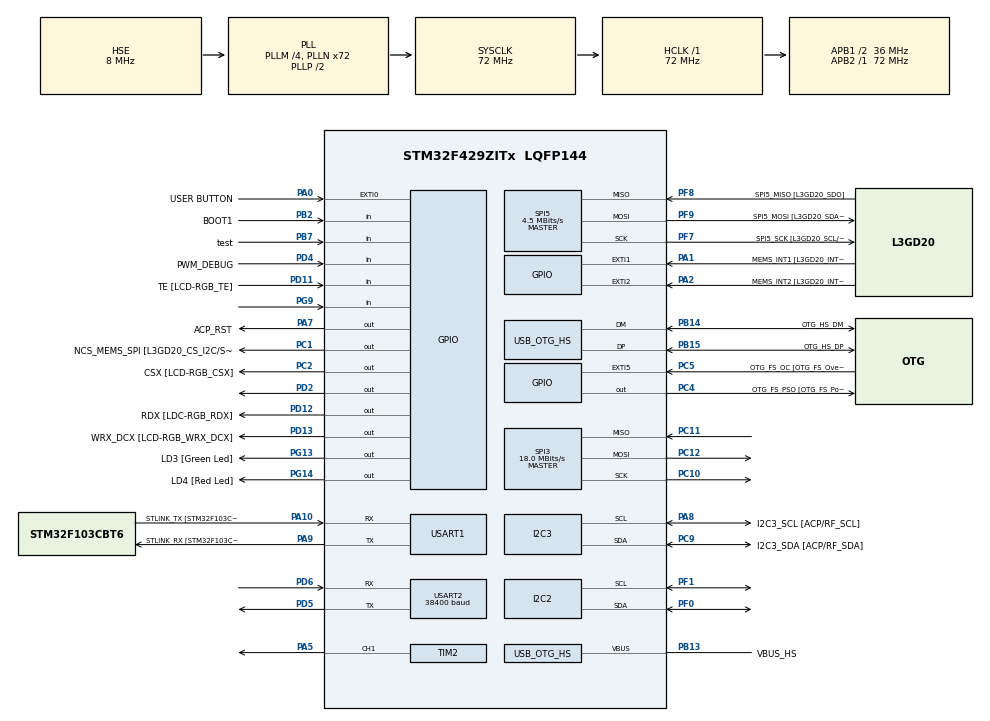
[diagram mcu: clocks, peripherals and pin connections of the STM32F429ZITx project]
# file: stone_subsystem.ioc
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Dma.Request0=TIM2_CH1
Dma.TIM2_CH1.0.Direction=DMA_MEMORY_TO_PERIPH
Dma.TIM2_CH1.0.FIFOMode=DMA_FIFOMODE_DISABLE
Dma.TIM2_CH1.0.Instance=DMA1_Stream5
Dma.TIM2_CH1.0.MemDataAlignment=DMA_MDATAALIGN_BYTE
Dma.TIM2_CH1.0.MemInc=DMA_MINC_ENABLE
Dma.TIM2_CH1.0.Mode=DMA_NORMAL
Dma.TIM2_CH1.0.PeriphDataAlignment=DMA_PDATAALIGN_BYTE
Dma.TIM2_CH1.0.PeriphInc=DMA_PINC_DISABLE
Dma.TIM2_CH1.0.Priority=DMA_PRIORITY_HIGH
Mcu.Family=STM32F4
Mcu.Name=STM32F429ZITx
Mcu.Package=LQFP144
NVIC.DMA1_Stream5_IRQn=true\:0\:0\:false\:false\:true\:false\:true\:true
NVIC.EXTI0_IRQn=true\:0\:0\:false\:false\:true\:true\:true\:true
NVIC.OTG_HS_IRQn=true\:0\:0\:false\:false\:true\:false\:true\:true
NVIC.PriorityGroup=NVIC_PRIORITYGROUP_4
NVIC.RCC_IRQn=true\:0\:0\:false\:false\:true\:true\:false\:true
NVIC.TIM2_IRQn=true\:0\:0\:false\:false\:true\:true\:true\:true
NVIC.USART1_IRQn=true\:0\:0\:false\:false\:true\:true\:true\:true
PA0/WKUP.GPIO_Label=USER BUTTON
PA0/WKUP.Signal=GPXTI0
PA1.GPIO_Label=MEMS_INT1 [L3GD20_INT1]
PA1.GPIO_ModeDefaultEXTI=GPIO_MODE_EVT_RISING
PA1.GPIO_PuPd=GPIO_NOPULL
PA1.Signal=GPXTI1
PA10.GPIO_Label=STLINK_TX [STM32F103CBT6_PA2]
PA10.Mode=Asynchronous
PA10.Signal=USART1_RX
PA11.GPIO_Label=R4
PA11.GPIO_Mode=GPIO_MODE_AF_PP
PA11.GPIO_PuPd=GPIO_NOPULL
PA11.GPIO_Speed=GPIO_SPEED_FREQ_LOW
PA11.Signal=LTDC_R4
PA12.GPIO_Label=R5
PA12.GPIO_Mode=GPIO_MODE_AF_PP
PA12.GPIO_PuPd=GPIO_NOPULL
PA12.GPIO_Speed=GPIO_SPEED_FREQ_LOW
PA12.Signal=LTDC_R5
PA13.GPIO_Label=SWDIO
PA13.Mode=Serial_Wire
PA13.Signal=SYS_JTMS-SWDIO
PA14.GPIO_Label=SWCLK
PA14.Mode=Serial_Wire
PA14.Signal=SYS_JTCK-SWCLK
PA15.Signal=SPI3_NSS
PA2.GPIO_Label=MEMS_INT2 [L3GD20_INT2]
PA2.GPIO_ModeDefaultEXTI=GPIO_MODE_EVT_RISING
PA2.GPIO_PuPd=GPIO_NOPULL
PA2.Signal=GPXTI2
PA3.GPIO_Label=B5
PA3.GPIO_Mode=GPIO_MODE_AF_PP
PA3.GPIO_PuPd=GPIO_NOPULL
PA3.GPIO_Speed=GPIO_SPEED_FREQ_LOW
PA3.Signal=LTDC_B5
PA4.GPIO_Label=VSYNC
PA4.GPIO_Mode=GPIO_MODE_AF_PP
PA4.GPIO_PuPd=GPIO_NOPULL
PA4.GPIO_Speed=GPIO_SPEED_FREQ_LOW
PA4.Signal=LTDC_VSYNC
PA5.Signal=S_TIM2_CH1_ETR
PA6.GPIO_Label=G2
PA6.GPIO_Mode=GPIO_MODE_AF_PP
PA6.GPIO_PuPd=GPIO_NOPULL
PA6.GPIO_Speed=GPIO_SPEED_FREQ_LOW
PA6.Signal=LTDC_G2
PA7.GPIO_Label=ACP_RST
PA7.GPIO_Mode=GPIO_MODE_OUTPUT_PP
PA7.GPIO_PuPd=GPIO_NOPULL
PA7.GPIO_Speed=GPIO_SPEED_FREQ_LOW
PA7.Signal=GPIO_Output
PA8.GPIO_Label=I2C3_SCL [ACP/RF_SCL]
PA8.GPIO_Mode=GPIO_MODE_AF_OD
PA8.GPIO_Pu=GPIO_PULLUP
PA8.GPIO_PuPd=GPIO_NOPULL
PA8.GPIO_Speed=GPIO_SPEED_FREQ_LOW
PA8.Mode=I2C
PA8.Signal=I2C3_SCL
PA9.GPIO_Label=STLINK_RX [STM32F103CBT6_PA3]
PA9.Mode=Asynchronous
PA9.Signal=USART1_TX
PB0.GPIO_Label=R3
PB0.GPIO_Mode=GPIO_MODE_AF_PP
PB0.GPIO_PuPd=GPIO_NOPULL
PB0.GPIO_Speed=GPIO_SPEED_FREQ_LOW
PB0.Signal=LTDC_R3
PB1.GPIO_Label=R6
PB1.GPIO_Mode=GPIO_MODE_AF_PP
PB1.GPIO_PuPd=GPIO_NOPULL
PB1.GPIO_Speed=GPIO_SPEED_FREQ_LOW
PB1.Signal=LTDC_R6
PB10.GPIO_Label=G4
PB10.GPIO_Mode=GPIO_MODE_AF_PP
PB10.GPIO_PuPd=GPIO_NOPULL
PB10.GPIO_Speed=GPIO_SPEED_FREQ_LOW
PB10.Signal=LTDC_G4
PB11.GPIO_Label=G5
PB11.GPIO_Mode=GPIO_MODE_AF_PP
PB11.GPIO_PuPd=GPIO_NOPULL
PB11.GPIO_Speed=GPIO_SPEED_FREQ_LOW
PB11.Signal=LTDC_G5
PB12.GPIO_Label=OTG_HS_ID
PB12.GPIO_Mode=GPIO_MODE_AF_PP
PB12.GPIO_PuPd=GPIO_NOPULL
PB12.GPIO_Speed=GPIO_SPEED_FREQ_LOW
PB12.Signal=USB_OTG_HS_ID
PB13.GPIO_Label=VBUS_HS
PB13.GPIO_Mode=GPIO_MODE_INPUT
PB13.GPIO_PuPd=GPIO_NOPULL
PB13.Mode=Activate_VBUS_FS
PB13.Signal=USB_OTG_HS_VBUS
PB14.GPIO_Label=OTG_HS_DM
PB14.GPIO_Mode=GPIO_MODE_AF_PP
PB14.GPIO_PuPd=GPIO_NOPULL
PB14.GPIO_Speed=GPIO_SPEED_FREQ_LOW
PB14.Mode=Host_FS
PB14.Signal=USB_OTG_HS_DM
PB15.GPIO_Label=OTG_HS_DP
PB15.GPIO_Mode=GPIO_MODE_AF_PP
PB15.GPIO_PuPd=GPIO_NOPULL
PB15.GPIO_Speed=GPIO_SPEED_FREQ_LOW
PB15.Mode=Host_FS
PB15.Signal=USB_OTG_HS_DP
PB2/BOOT1.GPIO_Label=BOOT1
PB2/BOOT1.GPIO_Mode=GPIO_MODE_INPUT
PB2/BOOT1.GPIO_PuPd=GPIO_NOPULL
PB2/BOOT1.Signal=GPIO_Input
PB5.GPIO_Label=SDCKE1
PB5.GPIO_Mode=GPIO_MODE_AF_PP
PB5.GPIO_PuPd=GPIO_NOPULL
PB5.GPIO_Speed=GPIO_SPEED_FREQ_VERY_HIGH
PB5.Signal=FMC_SDCKE1
PB6.GPIO_Label=SDNE1 [SDRAM_CS]
PB6.GPIO_Mode=GPIO_MODE_AF_PP
PB6.GPIO_PuPd=GPIO_NOPULL
PB6.GPIO_Speed=GPIO_SPEED_FREQ_VERY_HIGH
PB6.Signal=FMC_SDNE1
PB7.GPIO_Label=test
PB7.Signal=GPIO_Input
PB8.GPIO_Label=B6
PB8.GPIO_Mode=GPIO_MODE_AF_PP
PB8.GPIO_PuPd=GPIO_NOPULL
PB8.GPIO_Speed=GPIO_SPEED_FREQ_LOW
PB8.Signal=LTDC_B6
PB9.GPIO_Label=B7
PB9.GPIO_Mode=GPIO_MODE_AF_PP
PB9.GPIO_PuPd=GPIO_NOPULL
PB9.GPIO_Speed=GPIO_SPEED_FREQ_LOW
PB9.Signal=LTDC_B7
PC0.GPIO_Label=SDNWE
PC0.GPIO_Mode=GPIO_MODE_AF_PP
PC0.GPIO_PuPd=GPIO_NOPULL
PC0.GPIO_Speed=GPIO_SPEED_FREQ_VERY_HIGH
PC0.Signal=FMC_SDNWE
PC1.GPIO_Label=NCS_MEMS_SPI [L3GD20_CS_I2C/SPI]
PC1.GPIO_Mode=GPIO_MODE_OUTPUT_PP
PC1.GPIO_PuPd=GPIO_NOPULL
PC1.GPIO_Speed=GPIO_SPEED_FREQ_LOW
PC1.Signal=GPIO_Output
PC10.GPIO_Mode=GPIO_MODE_AF_PP
PC10.GPIO_PuPd=GPIO_NOPULL
PC10.GPIO_Speed=GPIO_SPEED_FREQ_LOW
PC10.Mode=Full_Duplex_Master
PC10.Signal=SPI3_SCK
PC11.GPIO_Speed=GPIO_SPEED_FREQ_LOW
PC11.Mode=Full_Duplex_Master
PC11.Signal=SPI3_MISO
PC12.GPIO_Speed=GPIO_SPEED_FREQ_LOW
PC12.Mode=Full_Duplex_Master
PC12.Signal=SPI3_MOSI
PC14/OSC32_IN.GPIO_Label=PC14-OSC32_IN
PC14/OSC32_IN.Mode=LSE-External-Oscillator
PC14/OSC32_IN.Signal=RCC_OSC32_IN
PC15/OSC32_OUT.GPIO_Label=PC15-OSC32_OUT
PC15/OSC32_OUT.Mode=LSE-External-Oscillator
PC15/OSC32_OUT.Signal=RCC_OSC32_OUT
PC2.GPIO_Label=CSX [LCD-RGB_CSX]
PC2.GPIO_Mode=GPIO_MODE_OUTPUT_PP
PC2.GPIO_PuPd=GPIO_NOPULL
PC2.GPIO_Speed=GPIO_SPEED_FREQ_LOW
PC2.Signal=GPIO_Output
PC4.GPIO_Label=OTG_FS_PSO [OTG_FS_PowerSwitchOn]
PC4.GPIO_Mode=GPIO_MODE_OUTPUT_PP
PC4.GPIO_PuPd=GPIO_NOPULL
PC4.GPIO_Speed=GPIO_SPEED_FREQ_LOW
PC4.Signal=GPIO_Output
PC5.GPIO_Label=OTG_FS_OC [OTG_FS_OverCurrent]
PC5.GPIO_ModeDefaultEXTI=GPIO_MODE_EVT_RISING
PC5.Signal=GPXTI5
PC6.GPIO_Label=HSYNC
PC6.GPIO_Mode=GPIO_MODE_AF_PP
PC6.GPIO_PuPd=GPIO_NOPULL
PC6.GPIO_Speed=GPIO_SPEED_FREQ_LOW
PC6.Signal=LTDC_HSYNC
PC7.GPIO_Label=G6
PC7.GPIO_Mode=GPIO_MODE_AF_PP
PC7.GPIO_PuPd=GPIO_NOPULL
PC7.GPIO_Speed=GPIO_SPEED_FREQ_LOW
PC7.Signal=LTDC_G6
PC9.GPIO_Label=I2C3_SDA [ACP/RF_SDA]
PC9.GPIO_Mode=GPIO_MODE_AF_OD
PC9.GPIO_Pu=GPIO_PULLUP
PC9.GPIO_PuPd=GPIO_NOPULL
PC9.GPIO_Speed=GPIO_SPEED_FREQ_LOW
PC9.Mode=I2C
PC9.Signal=I2C3_SDA
PD0.GPIO_Label=D2
PD0.GPIO_Mode=GPIO_MODE_AF_PP
PD0.GPIO_PuPd=GPIO_NOPULL
PD0.GPIO_Speed=GPIO_SPEED_FREQ_VERY_HIGH
PD0.Signal=FMC_D2_DA2
PD1.GPIO_Label=D3
PD1.GPIO_Mode=GPIO_MODE_AF_PP
PD1.GPIO_PuPd=GPIO_NOPULL
PD1.GPIO_Speed=GPIO_SPEED_FREQ_VERY_HIGH
PD1.Signal=FMC_D3_DA3
PD10.GPIO_Label=D15
PD10.GPIO_Mode=GPIO_MODE_AF_PP
PD10.GPIO_PuPd=GPIO_NOPULL
PD10.GPIO_Speed=GPIO_SPEED_FREQ_VERY_HIGH
PD10.Signal=FMC_D15_DA15
PD11.GPIO_Label=TE [LCD-RGB_TE]
PD11.GPIO_Mode=GPIO_MODE_INPUT
PD11.GPIO_PuPd=GPIO_NOPULL
PD11.Signal=GPIO_Input
PD12.GPIO_Label=RDX [LDC-RGB_RDX]
PD12.GPIO_Mode=GPIO_MODE_OUTPUT_PP
PD12.GPIO_PuPd=GPIO_NOPULL
PD12.GPIO_Speed=GPIO_SPEED_FREQ_LOW
PD12.Signal=GPIO_Output
PD13.GPIO_Label=WRX_DCX [LCD-RGB_WRX_DCX]
PD13.GPIO_Mode=GPIO_MODE_OUTPUT_PP
PD13.GPIO_PuPd=GPIO_NOPULL
PD13.GPIO_Speed=GPIO_SPEED_FREQ_LOW
PD13.Signal=GPIO_Output
PD14.GPIO_Label=D0
PD14.GPIO_Mode=GPIO_MODE_AF_PP
PD14.GPIO_PuPd=GPIO_NOPULL
PD14.GPIO_Speed=GPIO_SPEED_FREQ_VERY_HIGH
PD14.Signal=FMC_D0_DA0
PD15.GPIO_Label=D1
PD15.GPIO_Mode=GPIO_MODE_AF_PP
PD15.GPIO_PuPd=GPIO_NOPULL
PD15.GPIO_Speed=GPIO_SPEED_FREQ_VERY_HIGH
PD15.Signal=FMC_D1_DA1
PD2.GPIO_Speed=GPIO_SPEED_FREQ_LOW
PD2.Signal=GPIO_Output
PD3.GPIO_Label=G7
PD3.GPIO_Mode=GPIO_MODE_AF_PP
PD3.GPIO_PuPd=GPIO_NOPULL
PD3.GPIO_Speed=GPIO_SPEED_FREQ_LOW
PD3.Signal=LTDC_G7
PD4.GPIO_Label=PWM_DEBUG
PD4.Signal=GPIO_Input
PD5.Mode=Asynchronous
PD5.Signal=USART2_TX
PD6.Mode=Asynchronous
PD6.Signal=USART2_RX
PD8.GPIO_Label=D13
PD8.GPIO_Mode=GPIO_MODE_AF_PP
PD8.GPIO_PuPd=GPIO_NOPULL
PD8.GPIO_Speed=GPIO_SPEED_FREQ_VERY_HIGH
PD8.Signal=FMC_D13_DA13
PD9.GPIO_Label=D14
PD9.GPIO_Mode=GPIO_MODE_AF_PP
PD9.GPIO_PuPd=GPIO_NOPULL
PD9.GPIO_Speed=GPIO_SPEED_FREQ_VERY_HIGH
PD9.Signal=FMC_D14_DA14
PE0.GPIO_Label=NBL0 [SDRAM_LDQM]
PE0.GPIO_Mode=GPIO_MODE_AF_PP
PE0.GPIO_PuPd=GPIO_NOPULL
PE0.GPIO_Speed=GPIO_SPEED_FREQ_VERY_HIGH
PE0.Signal=FMC_NBL0
PE1.GPIO_Label=NBL1 [SDRAM_UDQM]
PE1.GPIO_Mode=GPIO_MODE_AF_PP
PE1.GPIO_PuPd=GPIO_NOPULL
PE1.GPIO_Speed=GPIO_SPEED_FREQ_VERY_HIGH
PE1.Signal=FMC_NBL1
PE10.GPIO_Label=D7
PE10.GPIO_Mode=GPIO_MODE_AF_PP
PE10.GPIO_PuPd=GPIO_NOPULL
PE10.GPIO_Speed=GPIO_SPEED_FREQ_VERY_HIGH
PE10.Signal=FMC_D7_DA7
PE11.GPIO_Label=D8
PE11.GPIO_Mode=GPIO_MODE_AF_PP
PE11.GPIO_PuPd=GPIO_NOPULL
PE11.GPIO_Speed=GPIO_SPEED_FREQ_VERY_HIGH
PE11.Signal=FMC_D8_DA8
PE12.GPIO_Label=D9
PE12.GPIO_Mode=GPIO_MODE_AF_PP
PE12.GPIO_PuPd=GPIO_NOPULL
PE12.GPIO_Speed=GPIO_SPEED_FREQ_VERY_HIGH
PE12.Signal=FMC_D9_DA9
PE13.GPIO_Label=D10
PE13.GPIO_Mode=GPIO_MODE_AF_PP
PE13.GPIO_PuPd=GPIO_NOPULL
PE13.GPIO_Speed=GPIO_SPEED_FREQ_VERY_HIGH
PE13.Signal=FMC_D10_DA10
PE14.GPIO_Label=D11
PE14.GPIO_Mode=GPIO_MODE_AF_PP
PE14.GPIO_PuPd=GPIO_NOPULL
PE14.GPIO_Speed=GPIO_SPEED_FREQ_VERY_HIGH
PE14.Signal=FMC_D11_DA11
PE15.GPIO_Label=D12
PE15.GPIO_Mode=GPIO_MODE_AF_PP
PE15.GPIO_PuPd=GPIO_NOPULL
PE15.GPIO_Speed=GPIO_SPEED_FREQ_VERY_HIGH
PE15.Signal=FMC_D12_DA12
PE7.GPIO_Label=D4
PE7.GPIO_Mode=GPIO_MODE_AF_PP
PE7.GPIO_PuPd=GPIO_NOPULL
PE7.GPIO_Speed=GPIO_SPEED_FREQ_VERY_HIGH
PE7.Signal=FMC_D4_DA4
PE8.GPIO_Label=D5
PE8.GPIO_Mode=GPIO_MODE_AF_PP
PE8.GPIO_PuPd=GPIO_NOPULL
PE8.GPIO_Speed=GPIO_SPEED_FREQ_VERY_HIGH
PE8.Signal=FMC_D5_DA5
PE9.GPIO_Label=D6
PE9.GPIO_Mode=GPIO_MODE_AF_PP
PE9.GPIO_PuPd=GPIO_NOPULL
PE9.GPIO_Speed=GPIO_SPEED_FREQ_VERY_HIGH
PE9.Signal=FMC_D6_DA6
PF0.GPIO_Pu=GPIO_NOPULL
PF0.Mode=I2C
PF0.Signal=I2C2_SDA
PF1.GPIO_Pu=GPIO_NOPULL
PF1.Mode=I2C
PF1.Signal=I2C2_SCL
PF10.GPIO_Label=ENABLE [LCD-RGB_ENABLE]
PF10.GPIO_Mode=GPIO_MODE_AF_PP
PF10.GPIO_PuPd=GPIO_NOPULL
PF10.GPIO_Speed=GPIO_SPEED_FREQ_LOW
PF10.Signal=LTDC_DE
PF11.GPIO_Label=SDNRAS
PF11.GPIO_Mode=GPIO_MODE_AF_PP
PF11.GPIO_PuPd=GPIO_NOPULL
PF11.GPIO_Speed=GPIO_SPEED_FREQ_VERY_HIGH
PF11.Signal=FMC_SDNRAS
PF12.GPIO_Label=A6
PF12.GPIO_Mode=GPIO_MODE_AF_PP
PF12.GPIO_PuPd=GPIO_NOPULL
PF12.GPIO_Speed=GPIO_SPEED_FREQ_VERY_HIGH
PF12.Signal=FMC_A6
PF13.GPIO_Label=A7
PF13.GPIO_Mode=GPIO_MODE_AF_PP
PF13.GPIO_PuPd=GPIO_NOPULL
PF13.GPIO_Speed=GPIO_SPEED_FREQ_VERY_HIGH
PF13.Signal=FMC_A7
PF14.GPIO_Label=A8
PF14.GPIO_Mode=GPIO_MODE_AF_PP
PF14.GPIO_PuPd=GPIO_NOPULL
PF14.GPIO_Speed=GPIO_SPEED_FREQ_VERY_HIGH
PF14.Signal=FMC_A8
PF15.GPIO_Label=A9
PF15.GPIO_Mode=GPIO_MODE_AF_PP
PF15.GPIO_PuPd=GPIO_NOPULL
PF15.GPIO_Speed=GPIO_SPEED_FREQ_VERY_HIGH
PF15.Signal=FMC_A9
PF3.GPIO_Label=A3
PF3.GPIO_Mode=GPIO_MODE_AF_PP
PF3.GPIO_PuPd=GPIO_NOPULL
PF3.GPIO_Speed=GPIO_SPEED_FREQ_VERY_HIGH
PF3.Signal=FMC_A3
PF4.GPIO_Label=A4
PF4.GPIO_Mode=GPIO_MODE_AF_PP
PF4.GPIO_PuPd=GPIO_NOPULL
PF4.GPIO_Speed=GPIO_SPEED_FREQ_VERY_HIGH
PF4.Signal=FMC_A4
PF5.GPIO_Label=A5
PF5.GPIO_Mode=GPIO_MODE_AF_PP
PF5.GPIO_PuPd=GPIO_NOPULL
PF5.GPIO_Speed=GPIO_SPEED_FREQ_VERY_HIGH
PF5.Signal=FMC_A5
PF7.GPIO_Label=SPI5_SCK [L3GD20_SCL/SPC]
PF7.GPIO_Mode=GPIO_MODE_AF_PP
PF7.GPIO_PuPd=GPIO_NOPULL
PF7.GPIO_Speed=GPIO_SPEED_FREQ_LOW
PF7.Mode=Full_Duplex_Master
PF7.Signal=SPI5_SCK
PF8.GPIO_Label=SPI5_MISO [L3GD20_SDO]
PF8.GPIO_Mode=GPIO_MODE_AF_PP
PF8.GPIO_PuPd=GPIO_NOPULL
PF8.GPIO_Speed=GPIO_SPEED_FREQ_LOW
PF8.Mode=Full_Duplex_Master
PF8.Signal=SPI5_MISO
PF9.GPIO_Label=SPI5_MOSI [L3GD20_SDA/SDI/SDO]
PF9.GPIO_Mode=GPIO_MODE_AF_PP
PF9.GPIO_PuPd=GPIO_NOPULL
PF9.GPIO_Speed=GPIO_SPEED_FREQ_LOW
PF9.Mode=Full_Duplex_Master
PF9.Signal=SPI5_MOSI
PG0.GPIO_Label=A10
PG0.GPIO_Mode=GPIO_MODE_AF_PP
PG0.GPIO_PuPd=GPIO_NOPULL
PG0.GPIO_Speed=GPIO_SPEED_FREQ_VERY_HIGH
PG0.Signal=FMC_A10
PG1.GPIO_Label=A11
PG1.GPIO_Mode=GPIO_MODE_AF_PP
PG1.GPIO_PuPd=GPIO_NOPULL
PG1.GPIO_Speed=GPIO_SPEED_FREQ_VERY_HIGH
PG1.Signal=FMC_A11
PG10.GPIO_Label=G3
PG10.GPIO_Mode=GPIO_MODE_AF_PP
PG10.GPIO_PuPd=GPIO_NOPULL
PG10.GPIO_Speed=GPIO_SPEED_FREQ_LOW
PG10.Signal=LTDC_G3
PG11.GPIO_Label=B3
PG11.GPIO_Mode=GPIO_MODE_AF_PP
PG11.GPIO_PuPd=GPIO_NOPULL
PG11.GPIO_Speed=GPIO_SPEED_FREQ_LOW
PG11.Signal=LTDC_B3
PG12.GPIO_Label=B4
PG12.GPIO_Mode=GPIO_MODE_AF_PP
PG12.GPIO_PuPd=GPIO_NOPULL
PG12.GPIO_Speed=GPIO_SPEED_FREQ_LOW
PG12.Signal=LTDC_B4
PG13.GPIO_Label=LD3 [Green Led]
PG13.GPIO_Mode=GPIO_MODE_OUTPUT_PP
PG13.GPIO_PuPd=GPIO_NOPULL
PG13.GPIO_Speed=GPIO_SPEED_FREQ_LOW
PG13.Signal=GPIO_Output
PG14.GPIO_Label=LD4 [Red Led]
PG14.GPIO_Mode=GPIO_MODE_OUTPUT_PP
PG14.GPIO_PuPd=GPIO_NOPULL
PG14.GPIO_Speed=GPIO_SPEED_FREQ_LOW
PG14.Signal=GPIO_Output
PG15.GPIO_Label=SDNCAS
PG15.GPIO_Mode=GPIO_MODE_AF_PP
PG15.GPIO_PuPd=GPIO_NOPULL
PG15.GPIO_Speed=GPIO_SPEED_FREQ_VERY_HIGH
PG15.Signal=FMC_SDNCAS
PG4.GPIO_Label=BA0
PG4.GPIO_Mode=GPIO_MODE_AF_PP
PG4.GPIO_PuPd=GPIO_NOPULL
PG4.GPIO_Speed=GPIO_SPEED_FREQ_VERY_HIGH
PG4.Signal=FMC_A14_BA0
PG5.GPIO_Label=BA1
PG5.GPIO_Mode=GPIO_MODE_AF_PP
PG5.GPIO_PuPd=GPIO_NOPULL
PG5.GPIO_Speed=GPIO_SPEED_FREQ_VERY_HIGH
PG5.Signal=FMC_A15_BA1
PG6.GPIO_Label=R7
PG6.GPIO_Mode=GPIO_MODE_AF_PP
PG6.GPIO_PuPd=GPIO_NOPULL
PG6.GPIO_Speed=GPIO_SPEED_FREQ_LOW
PG6.Signal=LTDC_R7
PG7.GPIO_Label=DOTCLK [LCT-RGB_DOTCLK]
PG7.GPIO_Mode=GPIO_MODE_AF_PP
PG7.GPIO_PuPd=GPIO_NOPULL
PG7.GPIO_Speed=GPIO_SPEED_FREQ_LOW
PG7.Signal=LTDC_CLK
PG8.GPIO_Label=SDCLK
PG8.GPIO_Mode=GPIO_MODE_AF_PP
PG8.GPIO_PuPd=GPIO_NOPULL
PG8.GPIO_Speed=GPIO_SPEED_FREQ_VERY_HIGH
PG8.Signal=FMC_SDCLK
PG9.Signal=GPIO_Input
PH0/OSC_IN.GPIO_Label=PH0-OSC_IN
PH0/OSC_IN.Mode=HSE-External-Oscillator
PH0/OSC_IN.Signal=RCC_OSC_IN
PH1/OSC_OUT.GPIO_Label=PH1-OSC_OUT
PH1/OSC_OUT.Mode=HSE-External-Oscillator
PH1/OSC_OUT.Signal=RCC_OSC_OUT
ProjectManager.HeapSize=0x200
ProjectManager.StackSize=0x400
ProjectManager.TargetToolchain=STM32CubeIDE
RCC.48MHZClocksFreq_Value=48000000
RCC.AHBFreq_Value=72000000
RCC.APB1CLKDivider=RCC_HCLK_DIV2
RCC.APB1Freq_Value=36000000
RCC.APB1TimFreq_Value=72000000
RCC.APB2Freq_Value=72000000
RCC.APB2TimFreq_Value=72000000
RCC.CortexFreq_Value=72000000
RCC.HCLKFreq_Value=72000000
RCC.HSE_VALUE=8000000
RCC.HSI_VALUE=16000000
RCC.PLLM=4
RCC.PLLN=72
RCC.PLLQ=3
RCC.PLLSAIN=50
RCC.SYSCLKFreq_VALUE=72000000
RCC.SYSCLKSource=RCC_SYSCLKSOURCE_PLLCLK
RCC.VCOOutputFreq_Value=144000000
SH.FMC_A10.0=FMC_A10
SH.FMC_A11.0=FMC_A11
SH.FMC_A14_BA0.0=FMC_BA0
SH.FMC_A15_BA1.0=FMC_BA1
SH.FMC_A3.0=FMC_A3
SH.FMC_A4.0=FMC_A4
SH.FMC_A5.0=FMC_A5
SH.FMC_A6.0=FMC_A6
SH.FMC_A7.0=FMC_A7
SH.FMC_A8.0=FMC_A8
SH.FMC_A9.0=FMC_A9
SH.FMC_D0_DA0.0=FMC_D0
SH.FMC_D10_DA10.0=FMC_D10
SH.FMC_D11_DA11.0=FMC_D11
SH.FMC_D12_DA12.0=FMC_D12
SH.FMC_D13_DA13.0=FMC_D13
SH.FMC_D14_DA14.0=FMC_D14
SH.FMC_D15_DA15.0=FMC_D15
SH.FMC_D1_DA1.0=FMC_D1
SH.FMC_D2_DA2.0=FMC_D2
SH.FMC_D3_DA3.0=FMC_D3
SH.FMC_D4_DA4.0=FMC_D4
SH.FMC_D5_DA5.0=FMC_D5
SH.FMC_D6_DA6.0=FMC_D6
SH.FMC_D7_DA7.0=FMC_D7
SH.FMC_D8_DA8.0=FMC_D8
SH.FMC_D9_DA9.0=FMC_D9
SH.FMC_NBL0.0=FMC_NBL0
SH.FMC_NBL1.0=FMC_NBL1
SH.FMC_SDCLK.0=FMC_SDCLK
SH.FMC_SDNCAS.0=FMC_SDNCAS
SH.FMC_SDNRAS.0=FMC_SDNRAS
SH.FMC_SDNWE.0=FMC_SDNWE
SH.S_TIM2_CH1_ETR.0=TIM2_CH1,PWM Generation1 CH1
SPI3.CalculateBaudRate=18.0 MBits/s
SPI3.Direction=SPI_DIRECTION_2LINES
SPI3.Mode=SPI_MODE_MASTER
SPI3.VirtualType=VM_MASTER
SPI5.BaudRatePrescaler=SPI_BAUDRATEPRESCALER_16
SPI5.CalculateBaudRate=4.5 MBits/s
SPI5.Direction=SPI_DIRECTION_2LINES
SPI5.Mode=SPI_MODE_MASTER
SPI5.VirtualType=VM_MASTER
TIM2.Channel-PWM\ Generation1\ CH1=TIM_CHANNEL_1
TIM2.CounterMode=TIM_COUNTERMODE_UP
TIM2.Period=60-1
USART1.VirtualMode=VM_ASYNC
USART2.BaudRate=38400
USART2.VirtualMode=VM_ASYNC
USB_HOST.BSP.number=1
USB_HOST.USBH_HandleTypeDef-MSC_HS=hUsbHostHS
USB_HOST.VirtualModeHS=Msc
USB_HOST0.BSP.STBoard=false
USB_HOST0.BSP.api=Unknown
USB_HOST0.BSP.i2caddr=0
USB_HOST0.BSP.instance=PC4
USB_HOST0.BSP.ip=GPIO
USB_HOST0.BSP.mode=Output
USB_HOST0.BSP.name=Drive_VBUS_HS
USB_HOST0.BSP.solution=PC4
USB_OTG_HS.VirtualMode-Host_FS=Host_FS
VP_CRC_VS_CRC.Mode=CRC_Activate
VP_FATFS_VS_USB.Mode=USB
VP_TIM1_VS_ClockSourceINT.Mode=Internal
VP_TIM2_VS_ClockSourceINT.Mode=Internal
VP_USB_HOST_VS_USB_HOST_MSC_HS.Mode=MSC_HS
board=STM32F429I-DISC1

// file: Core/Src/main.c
/* USER CODE BEGIN Header */
/**
  ******************************************************************************
  * @file           : main.c
  * @brief          : Main program body
  ******************************************************************************
  * @attention
  *
  * Copyright (c) 2022 STMicroelectronics.
  * All rights reserved.
  *
  * This software is licensed under terms that can be found in the LICENSE file
  * in the root directory of this software component.
  * If no LICENSE file comes with this software, it is provided AS-IS.
  *
  ******************************************************************************
  */
/* USER CODE END Header */
#include "main.h"
#include "fatfs.h"
#include "usb_host.h"

/* USER CODE BEGIN Includes */
#include "stm32_hal_neopixel.h"
#include "gyroI3G450D.h"
#include "lis3dh_driver.h"
#include "retarget.h"
#include "console.h"
#include "sessionController.h"
#include "usbController.h"
#include <stdio.h>
/* USER CODE END Includes */

 CRC_HandleTypeDef hcrc;

I2C_HandleTypeDef hi2c2;
I2C_HandleTypeDef hi2c3;

SPI_HandleTypeDef hspi3;
SPI_HandleTypeDef hspi5;

TIM_HandleTypeDef htim1;
TIM_HandleTypeDef htim2;
DMA_HandleTypeDef hdma_tim2_ch1;

UART_HandleTypeDef huart1;
UART_HandleTypeDef huart2;

/* USER CODE BEGIN PV */
/* FATFS objects */
extern USBH_HandleTypeDef hUsbHostFS;
extern ApplicationTypeDef Appli_state;
/* USER CODE END PV */

void SystemClock_Config(void);
static void MX_GPIO_Init(void);
static void MX_CRC_Init(void);
static void MX_I2C3_Init(void);
static void MX_SPI5_Init(void);
static void MX_TIM1_Init(void);
static void MX_USART1_UART_Init(void);
static void MX_DMA_Init(void);
static void MX_TIM2_Init(void);
static void MX_USART2_UART_Init(void);
static void MX_SPI3_Init(void);
static void MX_I2C2_Init(void);
void MX_USB_HOST_Process(void);

/* USER CODE BEGIN PFP */
uint32_t hsl_to_rgb(uint8_t h, uint8_t s, uint8_t l);

/* USER CODE END PFP */

int main(void)
{

  /* MCU Configuration--------------------------------------------------------*/

  /* Reset of all peripherals, Initializes the Flash interface and the Systick. */
  HAL_Init();

  /* Configure the system clock */
  SystemClock_Config();

  /* Initialize all configured peripherals */
  MX_GPIO_Init();
  MX_CRC_Init();
  MX_I2C3_Init();
  MX_SPI5_Init();
  MX_TIM1_Init();
  MX_USART1_UART_Init();
  MX_DMA_Init();
  MX_TIM2_Init();
  MX_USART2_UART_Init();
  MX_SPI3_Init();
  MX_FATFS_Init();
  MX_USB_HOST_Init();
  MX_I2C2_Init();
  /* USER CODE BEGIN 2 */

  RetargetInit(&huart1);
  ConsoleInit(&huart1);
  //Lis3dhInit(&htim2);
  SessionControllerInit(&hi2c2,&htim2,&hspi5);

  /* USER CODE END 2 */

  /* Infinite loop */
  /* USER CODE BEGIN WHILE */
  uint8_t angle = 0;
  const uint8_t angle_difference = 11;
  int usbWriteFlag = 1;

uint8_t x,y,z;

  while (1)
  {
    /* USER CODE END WHILE */
    MX_USB_HOST_Process();

    /* USER CODE BEGIN 3 */
	// for(uint8_t i = 0; i < 8 /* Change that to your amount of LEDs */; i++) {
	  			// Calculate color
	//			uint32_t rgb_color = hsl_to_rgb(angle + (i * angle_difference), 255, 127);
	  			// Set color
	 //			led_set_RGB(i, (rgb_color >> 16) & 0xFF, (rgb_color >> 8) & 0xFF, rgb_color & 0xFF);
	 //		}
	  		// Write to LED
	 // 	  	 ++angle;
	  		//led_render();
	  		// Some delay*/

			ConsoleProcess();
	  //		I3G450D_loop();
	  //		Lis3dhGetAcc();
	 // SessionControllerProcess();

  }
  /* USER CODE END 3 */
}

void SystemClock_Config(void)
{
  RCC_OscInitTypeDef RCC_OscInitStruct = {0};
  RCC_ClkInitTypeDef RCC_ClkInitStruct = {0};

  /** Configure the main internal regulator output voltage
  */
  __HAL_RCC_PWR_CLK_ENABLE();
  __HAL_PWR_VOLTAGESCALING_CONFIG(PWR_REGULATOR_VOLTAGE_SCALE3);

  /** Initializes the RCC Oscillators according to the specified parameters
  * in the RCC_OscInitTypeDef structure.
  */
  RCC_OscInitStruct.OscillatorType = RCC_OSCILLATORTYPE_HSE;
  RCC_OscInitStruct.HSEState = RCC_HSE_ON;
  RCC_OscInitStruct.PLL.PLLState = RCC_PLL_ON;
  RCC_OscInitStruct.PLL.PLLSource = RCC_PLLSOURCE_HSE;
  RCC_OscInitStruct.PLL.PLLM = 4;
  RCC_OscInitStruct.PLL.PLLN = 72;
  RCC_OscInitStruct.PLL.PLLP = RCC_PLLP_DIV2;
  RCC_OscInitStruct.PLL.PLLQ = 3;
  if (HAL_RCC_OscConfig(&RCC_OscInitStruct) != HAL_OK)
  {
    Error_Handler();
  }

  /** Initializes the CPU, AHB and APB buses clocks
  */
  RCC_ClkInitStruct.ClockType = RCC_CLOCKTYPE_HCLK|RCC_CLOCKTYPE_SYSCLK
                              |RCC_CLOCKTYPE_PCLK1|RCC_CLOCKTYPE_PCLK2;
  RCC_ClkInitStruct.SYSCLKSource = RCC_SYSCLKSOURCE_PLLCLK;
  RCC_ClkInitStruct.AHBCLKDivider = RCC_SYSCLK_DIV1;
  RCC_ClkInitStruct.APB1CLKDivider = RCC_HCLK_DIV2;
  RCC_ClkInitStruct.APB2CLKDivider = RCC_HCLK_DIV1;

  if (HAL_RCC_ClockConfig(&RCC_ClkInitStruct, FLASH_LATENCY_2) != HAL_OK)
  {
    Error_Handler();
  }
}

static void MX_CRC_Init(void)
{

  hcrc.Instance = CRC;
  if (HAL_CRC_Init(&hcrc) != HAL_OK)
  {
    Error_Handler();
  }

}

static void MX_I2C2_Init(void)
{

  hi2c2.Instance = I2C2;
  hi2c2.Init.ClockSpeed = 100000;
  hi2c2.Init.DutyCycle = I2C_DUTYCYCLE_2;
  hi2c2.Init.OwnAddress1 = 0;
  hi2c2.Init.AddressingMode = I2C_ADDRESSINGMODE_7BIT;
  hi2c2.Init.DualAddressMode = I2C_DUALADDRESS_DISABLE;
  hi2c2.Init.OwnAddress2 = 0;
  hi2c2.Init.GeneralCallMode = I2C_GENERALCALL_DISABLE;
  hi2c2.Init.NoStretchMode = I2C_NOSTRETCH_DISABLE;
  if (HAL_I2C_Init(&hi2c2) != HAL_OK)
  {
    Error_Handler();
  }

  /** Configure Analogue filter
  */
  if (HAL_I2CEx_ConfigAnalogFilter(&hi2c2, I2C_ANALOGFILTER_ENABLE) != HAL_OK)
  {
    Error_Handler();
  }

  /** Configure Digital filter
  */
  if (HAL_I2CEx_ConfigDigitalFilter(&hi2c2, 0) != HAL_OK)
  {
    Error_Handler();
  }

}

static void MX_I2C3_Init(void)
{

  hi2c3.Instance = I2C3;
  hi2c3.Init.ClockSpeed = 100000;
  hi2c3.Init.DutyCycle = I2C_DUTYCYCLE_2;
  hi2c3.Init.OwnAddress1 = 0;
  hi2c3.Init.AddressingMode = I2C_ADDRESSINGMODE_7BIT;
  hi2c3.Init.DualAddressMode = I2C_DUALADDRESS_DISABLE;
  hi2c3.Init.OwnAddress2 = 0;
  hi2c3.Init.GeneralCallMode = I2C_GENERALCALL_DISABLE;
  hi2c3.Init.NoStretchMode = I2C_NOSTRETCH_DISABLE;
  if (HAL_I2C_Init(&hi2c3) != HAL_OK)
  {
    Error_Handler();
  }

  /** Configure Analogue filter
  */
  if (HAL_I2CEx_ConfigAnalogFilter(&hi2c3, I2C_ANALOGFILTER_ENABLE) != HAL_OK)
  {
    Error_Handler();
  }

  /** Configure Digital filter
  */
  if (HAL_I2CEx_ConfigDigitalFilter(&hi2c3, 0) != HAL_OK)
  {
    Error_Handler();
  }

}

static void MX_SPI3_Init(void)
{

  /* SPI3 parameter configuration*/
  hspi3.Instance = SPI3;
  hspi3.Init.Mode = SPI_MODE_MASTER;
  hspi3.Init.Direction = SPI_DIRECTION_2LINES;
  hspi3.Init.DataSize = SPI_DATASIZE_8BIT;
  hspi3.Init.CLKPolarity = SPI_POLARITY_LOW;
  hspi3.Init.CLKPhase = SPI_PHASE_1EDGE;
  hspi3.Init.NSS = SPI_NSS_SOFT;
  hspi3.Init.BaudRatePrescaler = SPI_BAUDRATEPRESCALER_2;
  hspi3.Init.FirstBit = SPI_FIRSTBIT_MSB;
  hspi3.Init.TIMode = SPI_TIMODE_DISABLE;
  hspi3.Init.CRCCalculation = SPI_CRCCALCULATION_DISABLE;
  hspi3.Init.CRCPolynomial = 10;
  if (HAL_SPI_Init(&hspi3) != HAL_OK)
  {
    Error_Handler();
  }

}

static void MX_SPI5_Init(void)
{

  /* SPI5 parameter configuration*/
  hspi5.Instance = SPI5;
  hspi5.Init.Mode = SPI_MODE_MASTER;
  hspi5.Init.Direction = SPI_DIRECTION_2LINES;
  hspi5.Init.DataSize = SPI_DATASIZE_8BIT;
  hspi5.Init.CLKPolarity = SPI_POLARITY_LOW;
  hspi5.Init.CLKPhase = SPI_PHASE_1EDGE;
  hspi5.Init.NSS = SPI_NSS_SOFT;
  hspi5.Init.BaudRatePrescaler = SPI_BAUDRATEPRESCALER_16;
  hspi5.Init.FirstBit = SPI_FIRSTBIT_MSB;
  hspi5.Init.TIMode = SPI_TIMODE_DISABLE;
  hspi5.Init.CRCCalculation = SPI_CRCCALCULATION_DISABLE;
  hspi5.Init.CRCPolynomial = 10;
  if (HAL_SPI_Init(&hspi5) != HAL_OK)
  {
    Error_Handler();
  }

}

static void MX_TIM1_Init(void)
{

  TIM_ClockConfigTypeDef sClockSourceConfig = {0};
  TIM_MasterConfigTypeDef sMasterConfig = {0};

  htim1.Instance = TIM1;
  htim1.Init.Prescaler = 0;
  htim1.Init.CounterMode = TIM_COUNTERMODE_UP;
  htim1.Init.Period = 65535;
  htim1.Init.ClockDivision = TIM_CLOCKDIVISION_DIV1;
  htim1.Init.RepetitionCounter = 0;
  htim1.Init.AutoReloadPreload = TIM_AUTORELOAD_PRELOAD_DISABLE;
  if (HAL_TIM_Base_Init(&htim1) != HAL_OK)
  {
    Error_Handler();
  }
  sClockSourceConfig.ClockSource = TIM_CLOCKSOURCE_INTERNAL;
  if (HAL_TIM_ConfigClockSource(&htim1, &sClockSourceConfig) != HAL_OK)
  {
    Error_Handler();
  }
  sMasterConfig.MasterOutputTrigger = TIM_TRGO_RESET;
  sMasterConfig.MasterSlaveMode = TIM_MASTERSLAVEMODE_DISABLE;
  if (HAL_TIMEx_MasterConfigSynchronization(&htim1, &sMasterConfig) != HAL_OK)
  {
    Error_Handler();
  }
  /* USER CODE BEGIN TIM1_Init 2 */
  HAL_TIM_Base_MspInit(&htim1);
  /* USER CODE END TIM1_Init 2 */

}

static void MX_TIM2_Init(void)
{

  TIM_ClockConfigTypeDef sClockSourceConfig = {0};
  TIM_MasterConfigTypeDef sMasterConfig = {0};
  TIM_OC_InitTypeDef sConfigOC = {0};

  htim2.Instance = TIM2;
  htim2.Init.Prescaler = 0;
  htim2.Init.CounterMode = TIM_COUNTERMODE_UP;
  htim2.Init.Period = 60-1;
  htim2.Init.ClockDivision = TIM_CLOCKDIVISION_DIV1;
  htim2.Init.AutoReloadPreload = TIM_AUTORELOAD_PRELOAD_DISABLE;
  if (HAL_TIM_Base_Init(&htim2) != HAL_OK)
  {
    Error_Handler();
  }
  sClockSourceConfig.ClockSource = TIM_CLOCKSOURCE_INTERNAL;
  if (HAL_TIM_ConfigClockSource(&htim2, &sClockSourceConfig) != HAL_OK)
  {
    Error_Handler();
  }
  if (HAL_TIM_PWM_Init(&htim2) != HAL_OK)
  {
    Error_Handler();
  }
  sMasterConfig.MasterOutputTrigger = TIM_TRGO_RESET;
  sMasterConfig.MasterSlaveMode = TIM_MASTERSLAVEMODE_DISABLE;
  if (HAL_TIMEx_MasterConfigSynchronization(&htim2, &sMasterConfig) != HAL_OK)
  {
    Error_Handler();
  }
  sConfigOC.OCMode = TIM_OCMODE_PWM1;
  sConfigOC.Pulse = 0;
  sConfigOC.OCPolarity = TIM_OCPOLARITY_HIGH;
  sConfigOC.OCFastMode = TIM_OCFAST_DISABLE;
  if (HAL_TIM_PWM_ConfigChannel(&htim2, &sConfigOC, TIM_CHANNEL_1) != HAL_OK)
  {
    Error_Handler();
  }
  HAL_TIM_MspPostInit(&htim2);

}

static void MX_USART1_UART_Init(void)
{

  huart1.Instance = USART1;
  huart1.Init.BaudRate = 115200;
  huart1.Init.WordLength = UART_WORDLENGTH_8B;
  huart1.Init.StopBits = UART_STOPBITS_1;
  huart1.Init.Parity = UART_PARITY_NONE;
  huart1.Init.Mode = UART_MODE_TX_RX;
  huart1.Init.HwFlowCtl = UART_HWCONTROL_NONE;
  huart1.Init.OverSampling = UART_OVERSAMPLING_16;
  if (HAL_UART_Init(&huart1) != HAL_OK)
  {
    Error_Handler();
  }

}

static void MX_USART2_UART_Init(void)
{

  huart2.Instance = USART2;
  huart2.Init.BaudRate = 38400;
  huart2.Init.WordLength = UART_WORDLENGTH_8B;
  huart2.Init.StopBits = UART_STOPBITS_1;
  huart2.Init.Parity = UART_PARITY_NONE;
  huart2.Init.Mode = UART_MODE_TX_RX;
  huart2.Init.HwFlowCtl = UART_HWCONTROL_NONE;
  huart2.Init.OverSampling = UART_OVERSAMPLING_16;
  if (HAL_UART_Init(&huart2) != HAL_OK)
  {
    Error_Handler();
  }

}

static void MX_DMA_Init(void)
{

  /* DMA controller clock enable */
  __HAL_RCC_DMA1_CLK_ENABLE();

  /* DMA interrupt init */
  /* DMA1_Stream5_IRQn interrupt configuration */
  HAL_NVIC_SetPriority(DMA1_Stream5_IRQn, 0, 0);
  HAL_NVIC_EnableIRQ(DMA1_Stream5_IRQn);

}

static void MX_GPIO_Init(void)
{
  GPIO_InitTypeDef GPIO_InitStruct = {0};

  /* GPIO Ports Clock Enable */
  __HAL_RCC_GPIOC_CLK_ENABLE();
  __HAL_RCC_GPIOF_CLK_ENABLE();
  __HAL_RCC_GPIOH_CLK_ENABLE();
  __HAL_RCC_GPIOA_CLK_ENABLE();
  __HAL_RCC_GPIOB_CLK_ENABLE();
  __HAL_RCC_GPIOG_CLK_ENABLE();
  __HAL_RCC_GPIOE_CLK_ENABLE();
  __HAL_RCC_GPIOD_CLK_ENABLE();

  /*Configure GPIO pin Output Level */
  HAL_GPIO_WritePin(GPIOC, NCS_MEMS_SPI_Pin|CSX_Pin|OTG_FS_PSO_Pin, GPIO_PIN_RESET);

  /*Configure GPIO pin Output Level */
  HAL_GPIO_WritePin(ACP_RST_GPIO_Port, ACP_RST_Pin, GPIO_PIN_RESET);

  /*Configure GPIO pin Output Level */
  HAL_GPIO_WritePin(GPIOD, RDX_Pin|WRX_DCX_Pin|GPIO_PIN_2, GPIO_PIN_RESET);

  /*Configure GPIO pin Output Level */
  HAL_GPIO_WritePin(GPIOG, LD3_Pin|LD4_Pin, GPIO_PIN_RESET);

  /*Configure GPIO pins : A3_Pin A4_Pin A5_Pin SDNRAS_Pin
                           A6_Pin A7_Pin A8_Pin A9_Pin */
  GPIO_InitStruct.Pin = A3_Pin|A4_Pin|A5_Pin|SDNRAS_Pin
                          |A6_Pin|A7_Pin|A8_Pin|A9_Pin;
  GPIO_InitStruct.Mode = GPIO_MODE_AF_PP;
  GPIO_InitStruct.Pull = GPIO_NOPULL;
  GPIO_InitStruct.Speed = GPIO_SPEED_FREQ_VERY_HIGH;
  GPIO_InitStruct.Alternate = GPIO_AF12_FMC;
  HAL_GPIO_Init(GPIOF, &GPIO_InitStruct);

  /*Configure GPIO pin : ENABLE_Pin */
  GPIO_InitStruct.Pin = ENABLE_Pin;
  GPIO_InitStruct.Mode = GPIO_MODE_AF_PP;
  GPIO_InitStruct.Pull = GPIO_NOPULL;
  GPIO_InitStruct.Speed = GPIO_SPEED_FREQ_LOW;
  GPIO_InitStruct.Alternate = GPIO_AF14_LTDC;
  HAL_GPIO_Init(ENABLE_GPIO_Port, &GPIO_InitStruct);

  /*Configure GPIO pin : SDNWE_Pin */
  GPIO_InitStruct.Pin = SDNWE_Pin;
  GPIO_InitStruct.Mode = GPIO_MODE_AF_PP;
  GPIO_InitStruct.Pull = GPIO_NOPULL;
  GPIO_InitStruct.Speed = GPIO_SPEED_FREQ_VERY_HIGH;
  GPIO_InitStruct.Alternate = GPIO_AF12_FMC;
  HAL_GPIO_Init(SDNWE_GPIO_Port, &GPIO_InitStruct);

  /*Configure GPIO pins : NCS_MEMS_SPI_Pin CSX_Pin OTG_FS_PSO_Pin */
  GPIO_InitStruct.Pin = NCS_MEMS_SPI_Pin|CSX_Pin|OTG_FS_PSO_Pin;
  GPIO_InitStruct.Mode = GPIO_MODE_OUTPUT_PP;
  GPIO_InitStruct.Pull = GPIO_NOPULL;
  GPIO_InitStruct.Speed = GPIO_SPEED_FREQ_LOW;
  HAL_GPIO_Init(GPIOC, &GPIO_InitStruct);

  /*Configure GPIO pin : USER_BUTTON_Pin */
  GPIO_InitStruct.Pin = USER_BUTTON_Pin;
  GPIO_InitStruct.Mode = GPIO_MODE_IT_RISING;
  GPIO_InitStruct.Pull = GPIO_NOPULL;
  HAL_GPIO_Init(USER_BUTTON_GPIO_Port, &GPIO_InitStruct);

  /*Configure GPIO pins : MEMS_INT1_Pin MEMS_INT2_Pin */
  GPIO_InitStruct.Pin = MEMS_INT1_Pin|MEMS_INT2_Pin;
  GPIO_InitStruct.Mode = GPIO_MODE_EVT_RISING;
  GPIO_InitStruct.Pull = GPIO_NOPULL;
  HAL_GPIO_Init(GPIOA, &GPIO_InitStruct);

  /*Configure GPIO pins : B5_Pin VSYNC_Pin G2_Pin R4_Pin
                           R5_Pin */
  GPIO_InitStruct.Pin = B5_Pin|VSYNC_Pin|G2_Pin|R4_Pin
                          |R5_Pin;
  GPIO_InitStruct.Mode = GPIO_MODE_AF_PP;
  GPIO_InitStruct.Pull = GPIO_NOPULL;
  GPIO_InitStruct.Speed = GPIO_SPEED_FREQ_LOW;
  GPIO_InitStruct.Alternate = GPIO_AF14_LTDC;
  HAL_GPIO_Init(GPIOA, &GPIO_InitStruct);

  /*Configure GPIO pin : ACP_RST_Pin */
  GPIO_InitStruct.Pin = ACP_RST_Pin;
  GPIO_InitStruct.Mode = GPIO_MODE_OUTPUT_PP;
  GPIO_InitStruct.Pull = GPIO_NOPULL;
  GPIO_InitStruct.Speed = GPIO_SPEED_FREQ_LOW;
  HAL_GPIO_Init(ACP_RST_GPIO_Port, &GPIO_InitStruct);

  /*Configure GPIO pin : OTG_FS_OC_Pin */
  GPIO_InitStruct.Pin = OTG_FS_OC_Pin;
  GPIO_InitStruct.Mode = GPIO_MODE_EVT_RISING;
  GPIO_InitStruct.Pull = GPIO_NOPULL;
  HAL_GPIO_Init(OTG_FS_OC_GPIO_Port, &GPIO_InitStruct);

  /*Configure GPIO pins : R3_Pin R6_Pin */
  GPIO_InitStruct.Pin = R3_Pin|R6_Pin;
  GPIO_InitStruct.Mode = GPIO_MODE_AF_PP;
  GPIO_InitStruct.Pull = GPIO_NOPULL;
  GPIO_InitStruct.Speed = GPIO_SPEED_FREQ_LOW;
  GPIO_InitStruct.Alternate = GPIO_AF9_LTDC;
  HAL_GPIO_Init(GPIOB, &GPIO_InitStruct);

  /*Configure GPIO pins : BOOT1_Pin test_Pin */
  GPIO_InitStruct.Pin = BOOT1_Pin|test_Pin;
  GPIO_InitStruct.Mode = GPIO_MODE_INPUT;
  GPIO_InitStruct.Pull = GPIO_NOPULL;
  HAL_GPIO_Init(GPIOB, &GPIO_InitStruct);

  /*Configure GPIO pins : A10_Pin A11_Pin BA0_Pin BA1_Pin
                           SDCLK_Pin SDNCAS_Pin */
  GPIO_InitStruct.Pin = A10_Pin|A11_Pin|BA0_Pin|BA1_Pin
                          |SDCLK_Pin|SDNCAS_Pin;
  GPIO_InitStruct.Mode = GPIO_MODE_AF_PP;
  GPIO_InitStruct.Pull = GPIO_NOPULL;
  GPIO_InitStruct.Speed = GPIO_SPEED_FREQ_VERY_HIGH;
  GPIO_InitStruct.Alternate = GPIO_AF12_FMC;
  HAL_GPIO_Init(GPIOG, &GPIO_InitStruct);

  /*Configure GPIO pins : D4_Pin D5_Pin D6_Pin D7_Pin
                           D8_Pin D9_Pin D10_Pin D11_Pin
                           D12_Pin NBL0_Pin NBL1_Pin */
  GPIO_InitStruct.Pin = D4_Pin|D5_Pin|D6_Pin|D7_Pin
                          |D8_Pin|D9_Pin|D10_Pin|D11_Pin
                          |D12_Pin|NBL0_Pin|NBL1_Pin;
  GPIO_InitStruct.Mode = GPIO_MODE_AF_PP;
  GPIO_InitStruct.Pull = GPIO_NOPULL;
  GPIO_InitStruct.Speed = GPIO_SPEED_FREQ_VERY_HIGH;
  GPIO_InitStruct.Alternate = GPIO_AF12_FMC;
  HAL_GPIO_Init(GPIOE, &GPIO_InitStruct);

  /*Configure GPIO pins : G4_Pin G5_Pin B6_Pin B7_Pin */
  GPIO_InitStruct.Pin = G4_Pin|G5_Pin|B6_Pin|B7_Pin;
  GPIO_InitStruct.Mode = GPIO_MODE_AF_PP;
  GPIO_InitStruct.Pull = GPIO_NOPULL;
  GPIO_InitStruct.Speed = GPIO_SPEED_FREQ_LOW;
  GPIO_InitStruct.Alternate = GPIO_AF14_LTDC;
  HAL_GPIO_Init(GPIOB, &GPIO_InitStruct);

  /*Configure GPIO pins : D13_Pin D14_Pin D15_Pin D0_Pin
                           D1_Pin D2_Pin D3_Pin */
  GPIO_InitStruct.Pin = D13_Pin|D14_Pin|D15_Pin|D0_Pin
                          |D1_Pin|D2_Pin|D3_Pin;
  GPIO_InitStruct.Mode = GPIO_MODE_AF_PP;
  GPIO_InitStruct.Pull = GPIO_NOPULL;
  GPIO_InitStruct.Speed = GPIO_SPEED_FREQ_VERY_HIGH;
  GPIO_InitStruct.Alternate = GPIO_AF12_FMC;
  HAL_GPIO_Init(GPIOD, &GPIO_InitStruct);

  /*Configure GPIO pins : TE_Pin PWM_DEBUG_Pin */
  GPIO_InitStruct.Pin = TE_Pin|PWM_DEBUG_Pin;
  GPIO_InitStruct.Mode = GPIO_MODE_INPUT;
  GPIO_InitStruct.Pull = GPIO_NOPULL;
  HAL_GPIO_Init(GPIOD, &GPIO_InitStruct);

  /*Configure GPIO pins : RDX_Pin WRX_DCX_Pin PD2 */
  GPIO_InitStruct.Pin = RDX_Pin|WRX_DCX_Pin|GPIO_PIN_2;
  GPIO_InitStruct.Mode = GPIO_MODE_OUTPUT_PP;
  GPIO_InitStruct.Pull = GPIO_NOPULL;
  GPIO_InitStruct.Speed = GPIO_SPEED_FREQ_LOW;
  HAL_GPIO_Init(GPIOD, &GPIO_InitStruct);

  /*Configure GPIO pins : R7_Pin DOTCLK_Pin B3_Pin */
  GPIO_InitStruct.Pin = R7_Pin|DOTCLK_Pin|B3_Pin;
  GPIO_InitStruct.Mode = GPIO_MODE_AF_PP;
  GPIO_InitStruct.Pull = GPIO_NOPULL;
  GPIO_InitStruct.Speed = GPIO_SPEED_FREQ_LOW;
  GPIO_InitStruct.Alternate = GPIO_AF14_LTDC;
  HAL_GPIO_Init(GPIOG, &GPIO_InitStruct);

  /*Configure GPIO pins : HSYNC_Pin G6_Pin */
  GPIO_InitStruct.Pin = HSYNC_Pin|G6_Pin;
  GPIO_InitStruct.Mode = GPIO_MODE_AF_PP;
  GPIO_InitStruct.Pull = GPIO_NOPULL;
  GPIO_InitStruct.Speed = GPIO_SPEED_FREQ_LOW;
  GPIO_InitStruct.Alternate = GPIO_AF14_LTDC;
  HAL_GPIO_Init(GPIOC, &GPIO_InitStruct);

  /*Configure GPIO pin : G7_Pin */
  GPIO_InitStruct.Pin = G7_Pin;
  GPIO_InitStruct.Mode = GPIO_MODE_AF_PP;
  GPIO_InitStruct.Pull = GPIO_NOPULL;
  GPIO_InitStruct.Speed = GPIO_SPEED_FREQ_LOW;
  GPIO_InitStruct.Alternate = GPIO_AF14_LTDC;
  HAL_GPIO_Init(G7_GPIO_Port, &GPIO_InitStruct);

  /*Configure GPIO pin : PG9 */
  GPIO_InitStruct.Pin = GPIO_PIN_9;
  GPIO_InitStruct.Mode = GPIO_MODE_INPUT;
  GPIO_InitStruct.Pull = GPIO_NOPULL;
  HAL_GPIO_Init(GPIOG, &GPIO_InitStruct);

  /*Configure GPIO pins : G3_Pin B4_Pin */
  GPIO_InitStruct.Pin = G3_Pin|B4_Pin;
  GPIO_InitStruct.Mode = GPIO_MODE_AF_PP;
  GPIO_InitStruct.Pull = GPIO_NOPULL;
  GPIO_InitStruct.Speed = GPIO_SPEED_FREQ_LOW;
  GPIO_InitStruct.Alternate = GPIO_AF9_LTDC;
  HAL_GPIO_Init(GPIOG, &GPIO_InitStruct);

  /*Configure GPIO pins : LD3_Pin LD4_Pin */
  GPIO_InitStruct.Pin = LD3_Pin|LD4_Pin;
  GPIO_InitStruct.Mode = GPIO_MODE_OUTPUT_PP;
  GPIO_InitStruct.Pull = GPIO_NOPULL;
  GPIO_InitStruct.Speed = GPIO_SPEED_FREQ_LOW;
  HAL_GPIO_Init(GPIOG, &GPIO_InitStruct);

  /*Configure GPIO pins : SDCKE1_Pin SDNE1_Pin */
  GPIO_InitStruct.Pin = SDCKE1_Pin|SDNE1_Pin;
  GPIO_InitStruct.Mode = GPIO_MODE_AF_PP;
  GPIO_InitStruct.Pull = GPIO_NOPULL;
  GPIO_InitStruct.Speed = GPIO_SPEED_FREQ_VERY_HIGH;
  GPIO_InitStruct.Alternate = GPIO_AF12_FMC;
  HAL_GPIO_Init(GPIOB, &GPIO_InitStruct);

  /* EXTI interrupt init*/
  HAL_NVIC_SetPriority(EXTI0_IRQn, 0, 0);
  HAL_NVIC_EnableIRQ(EXTI0_IRQn);

}

/* USER CODE BEGIN 4 */
uint32_t hsl_to_rgb(uint8_t h, uint8_t s, uint8_t l) {
	if(l == 0) return 0;

	volatile uint8_t  r, g, b, lo, c, x, m;
	volatile uint16_t h1, l1, H;
	l1 = l + 1;
	if (l < 128)    c = ((l1 << 1) * s) >> 8;
	else            c = (512 - (l1 << 1)) * s >> 8;

	H = h * 6;              // 0 to 1535 (actually 1530)
	lo = H & 255;           // Low byte  = primary/secondary color mix
	h1 = lo + 1;

	if ((H & 256) == 0)   x = h1 * c >> 8;          // even sextant, like red to yellow
	else                  x = (256 - h1) * c >> 8;  // odd sextant, like yellow to green

	m = l - (c >> 1);
	switch(H >> 8) {       // High byte = sextant of colorwheel
	 case 0 : r = c; g = x; b = 0; break; // R to Y
	 case 1 : r = x; g = c; b = 0; break; // Y to G
	 case 2 : r = 0; g = c; b = x; break; // G to C
	 case 3 : r = 0; g = x; b = c; break; // C to B
	 case 4 : r = x; g = 0; b = c; break; // B to M
	 default: r = c; g = 0; b = x; break; // M to R
	}

	return (((uint32_t)r + m) << 16) | (((uint32_t)g + m) << 8) | ((uint32_t)b + m);
}

// process usb out put.
void WriteDataUSB(){

	}

/* USER CODE END 4 */

void Error_Handler(void)
{
  __disable_irq();
  while (1)
  {
  }
}
